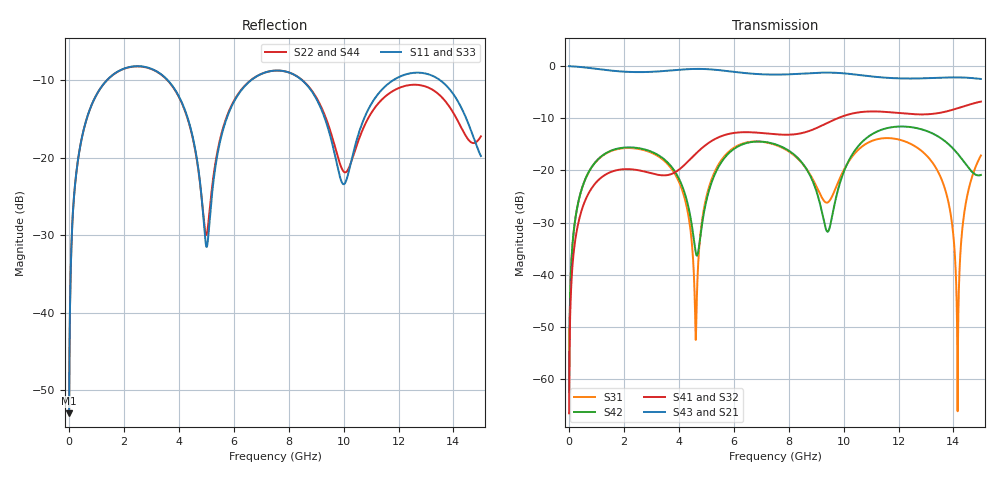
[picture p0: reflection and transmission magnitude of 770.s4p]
! Created with skrf 1.8.0 (http://scikit-rf.org).
# GHz S RI R 50.0
!freq ReS11 ImS11 ReS12 ImS12 ReS13 ImS13
! ReS14 ImS14
! ReS21 ImS21 ReS22 ImS22 ReS23 ImS23
! ReS24 ImS24
! ReS31 ImS31 ReS32 ImS32 ReS33 ImS33
! ReS34 ImS34
! ReS41 ImS41 ReS42 ImS42 ReS43 ImS43
! ReS44 ImS44
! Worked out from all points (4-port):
!   2499 points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, 5 MHz to 15 GHz, reference 50 ohm
!   strongest paths, dB at 5 MHz, 3.476 GHz, 7.19 GHz, 11.1 GHz, 15 GHz:
!     S43: 0.0, -0.9, -1.6, -2.0, -2.5
!     S21: 0.0, -0.9, -1.6, -2.0, -2.5
!     S41: -66.5, -20.9, -12.9, -8.7, -6.8
!     S32: -66.5, -21.0, -12.9, -8.7, -6.8
!     S42: -62.4, -17.9, -14.6, -12.9, -20.9
!     S31: -62.4, -18.2, -14.6, -14.2, -17.1
!   lowest |S11| = -53.0 dB at 5 MHz (marker M1), VSWR 1.00, Z = 50.2 + j0.136 ohm
!   |S11| at or under -10 dB: 3.596 GHz to 6.632 GHz (3.036 GHz wide, 59.4 % of centre); 8.488 GHz to 11.81 GHz (3.317 GHz wide, 32.7 % of centre); 13.52 GHz to end of sweep (the widest 3 of 4)
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0.005  0.00179 0.00135  0.9982 -0.00348  9.16e-05 0.00075  -8.88e-05 -0.000464
       0.9982 -0.00348  0.00179 0.00135  -8.88e-05 -0.000464  9.17e-05 0.00075
       9.16e-05 0.00075  -8.88e-05 -0.000464  0.00179 0.00135  0.9982 -0.00348
       -8.88e-05 -0.000464  9.17e-05 0.00075  0.9982 -0.00348  0.00179 0.00135
1.519383  0.2894 0.1665  0.5042 -0.7532  0.1401 0.0616  -0.0966 0.00191
          0.5042 -0.7532  0.2881 0.1674  -0.0965 0.0018  0.1438 0.0561
          0.1401 0.0616  -0.0965 0.0018  0.2895 0.1665  0.5041 -0.7532
          -0.0966 0.00191  0.1438 0.0561  0.5041 -0.7532  0.2881 0.1675
4.614423  0.0494 -0.0973  -0.8864 -0.312  0.00239 -0.000134  -0.0428 0.138
          -0.8864 -0.312  0.0538 -0.0926  -0.0442 0.1375  -0.0146 -0.00772
          0.00239 -0.000134  -0.0442 0.1375  0.0494 -0.0992  -0.8861 -0.3122
          -0.0428 0.138  -0.0146 -0.00772  -0.8861 -0.3122  0.0552 -0.0941
7.784494  0.361 -0.0383  -0.0015 0.8301  0.1406 -0.0848  0.2103 -0.0656
          -0.0015 0.8301  0.3613 -0.0343  0.2106 -0.0622  0.1416 -0.0882
          0.1406 -0.0848  0.2106 -0.0622  0.3605 -0.0381  -2.98e-05 0.8305
          0.2103 -0.0656  0.1416 -0.0882  -2.98e-05 0.8305  0.3596 -0.0359
12.93039  0.3452 -0.063  0.0425 -0.7636  0.1377 -0.051  -0.3405 0.0534
          0.0425 -0.7636  0.2885 -0.0299  -0.3398 0.0438  0.1548 -0.1884
          0.1377 -0.051  -0.3398 0.0438  0.3478 -0.0681  0.0366 -0.7631
          -0.3405 0.0534  0.1548 -0.1884  0.0366 -0.7631  0.2876 -0.0279
14.14965  0.1789 -0.1498  -0.5007 -0.5979  0.000154 -0.00048  -0.289 0.2684
          -0.5007 -0.5979  0.1612 -0.066  -0.2969 0.2593  -0.0676 -0.1287
          0.000154 -0.00048  -0.2969 0.2593  0.1772 -0.1534  -0.5063 -0.5924
          -0.289 0.2684  -0.0676 -0.1287  -0.5063 -0.5924  0.1634 -0.0649
15  0.0921 -0.0451  -0.7146 -0.2379  0.0218 0.1374  -0.1279 0.4388
    -0.7146 -0.2379  0.1315 0.0395  -0.1403 0.4352  -0.0712 0.0561
    0.0218 0.1374  -0.1403 0.4352  0.0912 -0.0444  -0.717 -0.229
    -0.1279 0.4388  -0.0712 0.0561  -0.717 -0.229  0.1344 0.0372
